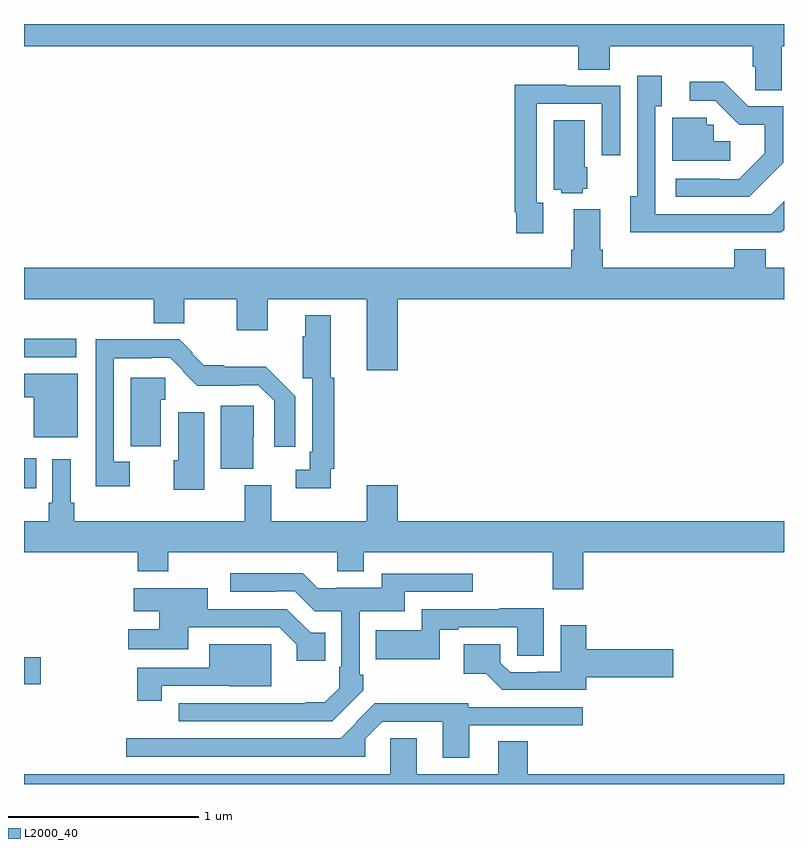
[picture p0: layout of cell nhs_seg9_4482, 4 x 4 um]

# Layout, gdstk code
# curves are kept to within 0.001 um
import gdstk
lib = gdstk.Library(unit=1e-6, precision=1e-09)
def R(c, l, rs):  # rectangles x0, y0, x1, y1
    for r in rs: c.add(gdstk.rectangle(r[:2], r[2:], *l))
def P(c, l, *ps):  # polygons
    for p in ps: c.add(gdstk.Polygon(p, *l))
L2000_40 = (2000, 40)

nhs_seg9_4482 = lib.new_cell('nhs_seg9_4482')
R(nhs_seg9_4482, L2000_40, [(367,1229.026,367.087,1229.168), (367,1230.056,367.064,1230.214), (367,1230.747,367.276,1230.843)])
P(nhs_seg9_4482, L2000_40, [(370.987,1232.384),(371,1232.384),(371,1232.5),(367,1232.5),(367,1232.384),(369.917,1232.384),(369.917,1232.26),(370.082,1232.26),(370.082,1232.384),(370.835,1232.384),(370.835,1232.274),(370.849,1232.274),(370.849,1232.152),(370.987,1232.152)],
  [(370.655,1231.404),(370.986,1231.404),(371,1231.418),(371,1231.568),(370.932,1231.5),(370.323,1231.5),(370.323,1232.066),(370.357,1232.066),(370.357,1232.227),(370.227,1232.227),(370.227,1231.594),(370.19,1231.594),(370.19,1231.403)],
  [(370.995,1231.769),(370.995,1232.067),(370.812,1232.067),(370.684,1232.195),(370.503,1232.195),(370.503,1232.097),(370.638,1232.097),(370.765,1231.97),(370.898,1231.97),(370.898,1231.82),(370.761,1231.683),(370.661,1231.683),(370.661,1231.686),(370.431,1231.686),(370.431,1231.59),(370.816,1231.59)],
  [(369.733,1231.559),(369.699,1231.559),(369.699,1232.079),(370.041,1232.079),(370.041,1231.809),(370.137,1231.809),(370.137,1232.175),(369.853,1232.175),(369.853,1232.179),(369.583,1232.179),(369.583,1231.51),(369.591,1231.51),(369.591,1231.398),(369.733,1231.398)],
  [(370.717,1231.882),(370.629,1231.882),(370.629,1231.971),(370.593,1231.971),(370.593,1232.007),(370.412,1232.007),(370.412,1231.779),(370.717,1231.779)],
  [(369.942,1231.632),(369.964,1231.632),(369.964,1231.746),(369.952,1231.746),(369.952,1231.994),(369.788,1231.994),(369.788,1231.628),(369.828,1231.628),(369.828,1231.61),(369.942,1231.61)],
  [(368.968,1231.052),(371,1231.052),(371,1231.216),(370.904,1231.216),(370.904,1231.315),(370.739,1231.315),(370.739,1231.216),(370.046,1231.216),(370.046,1231.312),(370.033,1231.312),(370.033,1231.525),(369.893,1231.525),(369.893,1231.312),(369.881,1231.312),(369.881,1231.216),(367,1231.216),(367,1231.052),(367.682,1231.052),(367.682,1230.926),(367.843,1230.926),(367.843,1231.052),(368.12,1231.052),(368.12,1230.888),(368.284,1230.888),(368.284,1231.052),(368.804,1231.052),(368.804,1230.678),(368.968,1230.678)],
  [(368.615,1230.16),(368.633,1230.16),(368.633,1230.639),(368.614,1230.639),(368.614,1230.967),(368.48,1230.967),(368.48,1230.857),(368.468,1230.857),(368.468,1230.636),(368.517,1230.636),(368.517,1230.25),(368.505,1230.25),(368.505,1230.153),(368.43,1230.153),(368.43,1230.056),(368.615,1230.056)],
  [(367.556,1230.196),(367.473,1230.196),(367.473,1230.74),(367.67,1230.74),(367.67,1230.744),(367.77,1230.744),(367.842,1230.672),(367.839,1230.669),(367.913,1230.596),(368.132,1230.596),(368.132,1230.6),(368.232,1230.6),(368.316,1230.516),(368.316,1230.276),(368.428,1230.276),(368.428,1230.54),(368.273,1230.697),(368.053,1230.697),(368.053,1230.705),(367.945,1230.705),(367.883,1230.767),(367.887,1230.771),(367.817,1230.841),(367.377,1230.841),(367.377,1230.068),(367.556,1230.068)],
  [(367.282,1230.658),(367,1230.658),(367,1230.536),(367.052,1230.536),(367.052,1230.326),(367.282,1230.326)],
  [(367.72,1230.522),(367.743,1230.522),(367.743,1230.639),(367.562,1230.639),(367.562,1230.277),(367.72,1230.277)],
  [(368.206,1230.327),(368.208,1230.327),(368.208,1230.492),(368.036,1230.492),(368.036,1230.158),(368.206,1230.158)],
  [(367.948,1230.457),(367.811,1230.457),(367.811,1230.204),(367.787,1230.204),(367.787,1230.05),(367.948,1230.05)],
  [(369.944,1229.72),(371,1229.72),(371,1229.884),(368.968,1229.884),(368.968,1230.073),(368.804,1230.073),(368.804,1229.884),(368.302,1229.884),(368.302,1230.073),(368.162,1230.073),(368.162,1229.884),(367.265,1229.884),(367.265,1229.98),(367.246,1229.98),(367.246,1230.208),(367.149,1230.208),(367.149,1229.98),(367.129,1229.98),(367.129,1229.884),(367,1229.884),(367,1229.72),(367.598,1229.72),(367.598,1229.621),(367.758,1229.621),(367.758,1229.72),(368.648,1229.72),(368.648,1229.621),(368.788,1229.621),(368.788,1229.72),(369.784,1229.72),(369.784,1229.526),(369.944,1229.526)],
  [(368.786,1228.993),(368.786,1229.074),(368.766,1229.074),(368.766,1229.408),(369.004,1229.408),(369.004,1229.511),(369.361,1229.511),(369.361,1229.607),(368.882,1229.607),(368.882,1229.533),(368.641,1229.533),(368.641,1229.529),(368.547,1229.529),(368.468,1229.608),(368.085,1229.608),(368.085,1229.511),(368.324,1229.511),(368.324,1229.514),(368.424,1229.514),(368.529,1229.409),(368.67,1229.409),(368.67,1229.116),(368.66,1229.116),(368.66,1229.004),(368.584,1228.929),(368.48,1228.929),(368.48,1228.926),(367.815,1228.926),(367.815,1228.83),(368.623,1228.83)],
  [(368.585,1229.296),(368.508,1229.296),(368.383,1229.421),(367.966,1229.421),(367.966,1229.53),(367.578,1229.53),(367.578,1229.408),(367.712,1229.408),(367.712,1229.314),(367.548,1229.314),(367.548,1229.21),(367.864,1229.21),(367.864,1229.325),(368.343,1229.325),(368.435,1229.233),(368.435,1229.148),(368.585,1229.148)],
  [(369.189,1229.313),(369.286,1229.313),(369.286,1229.325),(369.597,1229.325),(369.597,1229.176),(369.736,1229.176),(369.736,1229.426),(369.5,1229.426),(369.5,1229.421),(369.093,1229.421),(369.093,1229.308),(368.851,1229.308),(368.851,1229.156),(369.189,1229.156)],
  [(369.959,1229.063),(370.417,1229.063),(370.417,1229.21),(369.959,1229.21),(369.959,1229.335),(369.824,1229.335),(369.824,1229.091),(369.7,1229.091),(369.7,1229.088),(369.558,1229.088),(369.507,1229.139),(369.507,1229.236),(369.315,1229.236),(369.315,1229.081),(369.432,1229.081),(369.518,1228.995),(369.959,1228.995)],
  [(367.726,1229.016),(368.08,1229.016),(368.08,1229.015),(368.302,1229.015),(368.302,1229.236),(367.976,1229.236),(367.976,1229.112),(367.596,1229.112),(367.596,1228.938),(367.726,1228.938)],
  [(369.343,1228.809),(369.94,1228.809),(369.94,1228.905),(369.339,1228.905),(369.339,1228.926),(368.847,1228.926),(368.749,1228.828),(368.752,1228.825),(368.667,1228.74),(367.539,1228.74),(367.539,1228.644),(368.796,1228.644),(368.796,1228.737),(368.886,1228.827),(369.203,1228.827),(369.203,1228.638),(369.343,1228.638)],
  [(371,1228.552),(369.65,1228.552),(369.65,1228.724),(369.497,1228.724),(369.497,1228.552),(369.067,1228.552),(369.067,1228.742),(368.928,1228.742),(368.928,1228.552),(367,1228.552),(367,1228.5),(371,1228.5)])

lib.write_gds('nhs_seg9_4482.gds')
